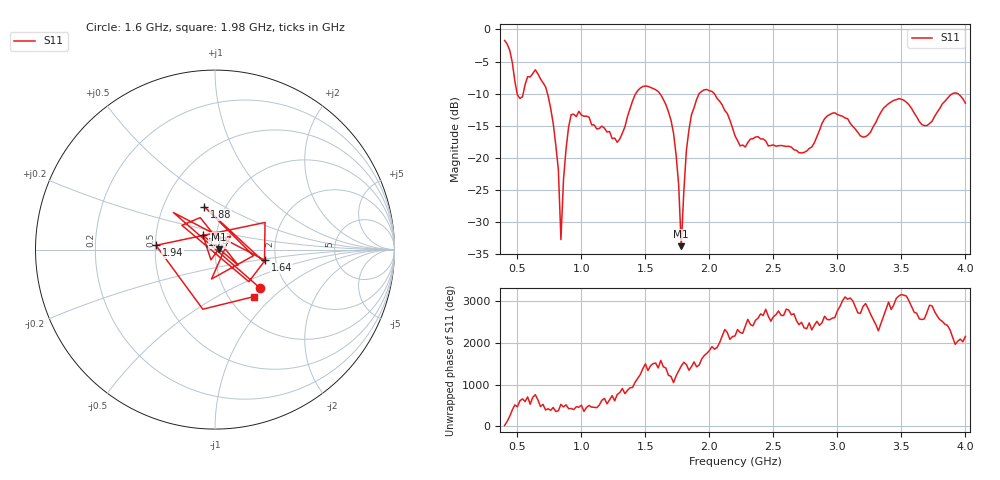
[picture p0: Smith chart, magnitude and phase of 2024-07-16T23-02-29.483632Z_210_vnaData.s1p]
!Created with skrf (http://scikit-rf.org).
# Hz S RI R 50.0
!freq ReS11 ImS11
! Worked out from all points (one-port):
!   181 points, 400 MHz to 4 GHz, reference 50 ohm
!   lowest |S11| = -33.7 dB at 1.78 GHz (marker M1), VSWR 1.04, Z = 52.1 + j0.199 ohm
!   |S11| at or under -10 dB: 735 MHz to 1.424 GHz (689.4 MHz wide, 63.9 % of centre); 1.613 GHz to 1.919 GHz (306.1 MHz wide, 17.3 % of centre); 2.038 GHz to 3.898 GHz (1.86 GHz wide, 62.7 % of centre) (the widest 3 of 5)
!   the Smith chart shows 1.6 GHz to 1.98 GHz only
!   S11 on the Smith chart (normalised r, x): 1.6 GHz: 1.47, -0.70; 1.64 GHz: 1.76, -0.23; 1.74 GHz: 0.86, +0.14; 1.88 GHz: 0.80, +0.41; 1.94 GHz: 0.50, +0.03; 1.98 GHz: 1.30, -0.77
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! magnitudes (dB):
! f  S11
! 400 MHz  -1.7
! 520 MHz  -10.7
! 640 MHz  -6.3
! 720 MHz  -8.9
! 820 MHz  -21.8
! 840 MHz  -32.7
! 860 MHz  -23.4
! 920 MHz  -13.3
! 1.3 GHz  -17.0
! 1.44 GHz  -9.5
! 1.6 GHz  -9.7
! 1.64 GHz  -10.9
! 1.74 GHz  -19.6
! 1.76 GHz  -24.2
! 1.78 GHz  -33.7
! 1.82 GHz  -18.9
! 1.88 GHz  -12.2
! 1.94 GHz  -9.6
! 1.98 GHz  -9.3
! 2.2 GHz  -16.5
! 2.66 GHz  -18.7
! 2.96 GHz  -13.0
! 3.1 GHz  -14.6
! 3.22 GHz  -16.7
! 3.56 GHz  -11.7
! 3.7 GHz  -15.0
! 3.9 GHz  -10.0
! 4 GHz  -11.5
